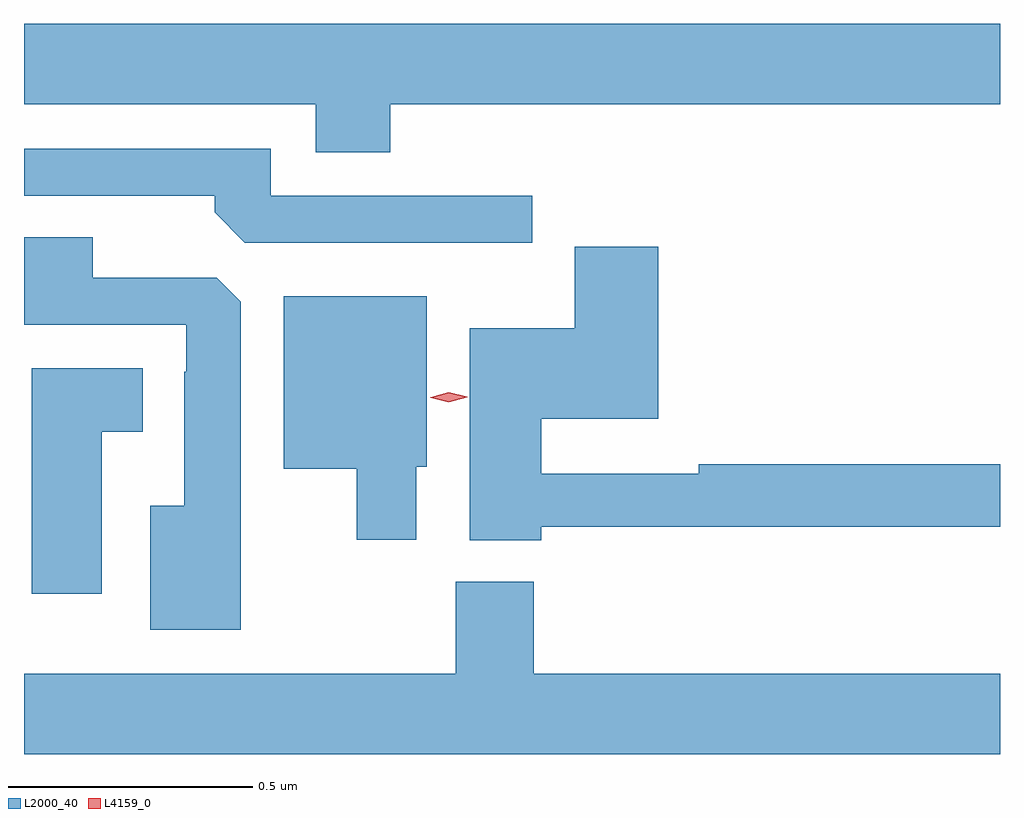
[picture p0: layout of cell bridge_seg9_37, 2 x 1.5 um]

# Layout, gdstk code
import gdstk
lib = gdstk.Library(unit=1e-6, precision=1e-09)
def P(c, l, *ps):  # polygons
    for p in ps: c.add(gdstk.Polygon(p, *l))
L2000_40 = (2000, 40)
L4159_0 = (4159, 0)

bridge_seg9_37 = lib.new_cell('bridge_seg9_37')
P(bridge_seg9_37, L2000_40, [(976.376,1176.44),(977.625,1176.44),(977.625,1176.604),(975.625,1176.604),(975.625,1176.44),(976.223,1176.44),(976.223,1176.341),(976.376,1176.341)],
  [(976.666,1176.252),(976.131,1176.252),(976.131,1176.348),(975.625,1176.348),(975.625,1176.252),(976.016,1176.252),(976.016,1176.218),(976.077,1176.156),(976.666,1176.156)],
  [(976.069,1176.035),(976.02,1176.084),(975.766,1176.084),(975.766,1176.167),(975.625,1176.167),(975.625,1175.988),(975.957,1175.988),(975.957,1175.891),(975.953,1175.891),(975.953,1175.617),(975.884,1175.617),(975.884,1175.363),(976.069,1175.363)],
  [(976.685,1175.574),(977.625,1175.574),(977.625,1175.702),(977.008,1175.702),(977.008,1175.682),(976.685,1175.682),(976.685,1175.795),(976.925,1175.795),(976.925,1176.148),(976.754,1176.148),(976.754,1175.98),(976.538,1175.98),(976.538,1175.546),(976.685,1175.546)],
  [(976.429,1175.697),(976.45,1175.697),(976.45,1176.046),(976.157,1176.046),(976.157,1175.693),(976.307,1175.693),(976.307,1175.547),(976.429,1175.547)],
  [(975.784,1175.768),(975.868,1175.768),(975.868,1175.899),(975.641,1175.899),(975.641,1175.436),(975.784,1175.436)],
  [(977.625,1175.272),(976.67,1175.272),(976.67,1175.461),(976.51,1175.461),(976.51,1175.272),(975.625,1175.272),(975.625,1175.108),(977.625,1175.108)])
P(bridge_seg9_37, L4159_0, [(976.495,1175.829),(976.458,1175.838),(976.457,1175.839),(976.458,1175.839),(976.495,1175.849),(976.533,1175.84),(976.533,1175.84),(976.533,1175.839)])

lib.write_gds('bridge_seg9_37.gds')
